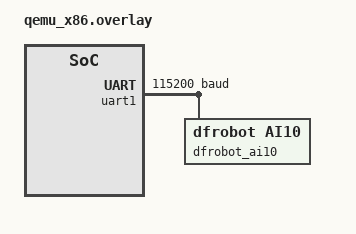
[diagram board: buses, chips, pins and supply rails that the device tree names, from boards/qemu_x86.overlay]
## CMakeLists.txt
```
# SPDX-License-Identifier: Apache-2.0

cmake_minimum_required(VERSION 3.20.0)
find_package(Zephyr REQUIRED HINTS $ENV{ZEPHYR_BASE})
project(lvgl_identify)

FILE(GLOB app_sources src/*.c)
target_sources(app PRIVATE ${app_sources})
```

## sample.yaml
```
# SPDX-License-Identifier: Apache-2.0

sample:
  name: LVGL biometric identify demo
  description: Automatic identification-only LVGL UI (no input) using the biometrics API
common:
  modules:
    - lvgl
  tags:
    - samples
    - display
    - gui
    - lvgl
    - biometrics
tests:
  sample.drivers.biometrics.lvgl_identify:
    build_only: true
    filter: dt_alias_exists("biometrics") and dt_chosen_enabled("zephyr,display")
    platform_allow:
      - qemu_x86
```

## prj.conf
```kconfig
# SPDX-License-Identifier: Apache-2.0

CONFIG_BIOMETRICS=y
CONFIG_SERIAL=y
CONFIG_UART_INTERRUPT_DRIVEN=y

CONFIG_LOG=y
CONFIG_BIOMETRICS_LOG_LEVEL_INF=y

CONFIG_HEAP_MEM_POOL_SIZE=16384

CONFIG_DISPLAY=y
CONFIG_DISPLAY_LOG_LEVEL_ERR=y

CONFIG_LVGL=y
CONFIG_LV_USE_LOG=y
CONFIG_LV_COLOR_DEPTH_32=y

CONFIG_LV_USE_LABEL=y
CONFIG_LV_USE_SPINNER=y

CONFIG_LV_FONT_MONTSERRAT_14=y
CONFIG_LV_FONT_MONTSERRAT_18=y
CONFIG_LV_FONT_MONTSERRAT_24=y
CONFIG_LV_FONT_MONTSERRAT_32=y
```

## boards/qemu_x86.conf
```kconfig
# SPDX-License-Identifier: Apache-2.0
# Extra LVGL sizing for 1024x768 ramfb on qemu_x86 (see modules/lvgl/demos/boards/qemu_x86.conf)

CONFIG_MAIN_STACK_SIZE=16384
CONFIG_LV_Z_MEM_POOL_SIZE=98304
CONFIG_LV_DRAW_LAYER_SIMPLE_BUF_SIZE=32768
CONFIG_LV_DRAW_LAYER_MAX_MEMORY=98304


CONFIG_QEMU_EXTRA_FLAGS="-serial /dev/ttys012"
CONFIG_QEMU_ICOUNT=n


CONFIG_LOG=y
CONFIG_BIOMETRICS_LOG_LEVEL_DBG=y
```

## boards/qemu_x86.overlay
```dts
/*
 * SPDX-License-Identifier: Apache-2.0
 *
 * Emulated fingerprint sensor for QEMU (see biometrics_emul driver).
 */

/ {
	aliases {
		// biometrics = &biometrics_emul;
		biometrics = &dfrobot_ai10;
	};

	biometrics_emul: biometrics-emul {
		compatible = "zephyr,biometrics-emul";
		status = "disabled";
	};
};

&uart1 {
	status = "okay";
	current-speed = <115200>;

	dfrobot_ai10: dfrobot_ai10 {
		compatible = "dfrobot,ai10";
		status = "okay";
	};
};
```

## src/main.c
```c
/*
 * Copyright (c) 2026 The Zephyr Project Contributors
 *
 * SPDX-License-Identifier: Apache-2.0
 */

#include <zephyr/device.h>
#include <zephyr/devicetree.h>
#include <zephyr/drivers/biometrics.h>
#include <zephyr/drivers/display.h>
#include <zephyr/kernel.h>
#include <zephyr/logging/log.h>
#include <zephyr/sys/util.h>

#include <errno.h>
#include <stdio.h>
#include <string.h>

#include <lvgl.h>

LOG_MODULE_REGISTER(app, LOG_LEVEL_INF);

#define BIOMETRICS_NODE DT_ALIAS(biometrics)

#if !DT_NODE_EXISTS(BIOMETRICS_NODE)
#error "Devicetree alias 'biometrics' must point at a biometric device (see README.rst)"
#endif

enum {
	BIO_WORKER_CMD_IDENTIFY = 1,
};

enum {
	BIO_UI_EVT_IDENTIFY_COMPLETE = 1,
};

struct bio_worker_cmd {
	uint32_t cmd;
};

struct bio_ui_evt {
	uint32_t type;
	int32_t result;
	struct biometric_match_result match;
};

K_MSGQ_DEFINE(cmd_msgq, sizeof(struct bio_worker_cmd), 4, 4);
K_MSGQ_DEFINE(evt_msgq, sizeof(struct bio_ui_evt), 8, 4);

static const struct device *bio_dev = DEVICE_DT_GET(BIOMETRICS_NODE);
static const struct device *display_dev = DEVICE_DT_GET(DT_CHOSEN(zephyr_display));

K_THREAD_STACK_DEFINE(worker_stack, 4096);
static struct k_thread worker_thread_data;

static lv_obj_t *scr_idle;
static lv_obj_t *scr_noidentities;
static lv_obj_t *scr_busy;
static lv_obj_t *scr_result;

static lv_obj_t *idle_subtitle;
static lv_obj_t *busy_spinner;
static lv_obj_t *busy_hint;
static lv_obj_t *result_title;
static lv_obj_t *result_detail;

static lv_timer_t *flow_timer;

static bool have_templates;

static void cancel_flow_timer(void)
{
	if (flow_timer != NULL) {
		lv_timer_delete(flow_timer);
		flow_timer = NULL;
	}
}

static void post_worker_cmd(uint32_t cmd)
{
	const struct bio_worker_cmd c = {.cmd = cmd};

	if (k_msgq_put(&cmd_msgq, &c, K_NO_WAIT) != 0) {
		LOG_ERR("Command queue full");
	}
}

static void send_ui_evt(const struct bio_ui_evt *evt)
{
	if (k_msgq_put(&evt_msgq, evt, K_MSEC(500)) != 0) {
		LOG_ERR("UI event queue full");
	}
}

static void style_screen(lv_obj_t *scr)
{
	lv_obj_set_style_bg_color(scr, lv_color_hex(0x1a1a2e), 0);
	lv_obj_set_style_bg_opa(scr, LV_OPA_COVER, 0);
	lv_obj_clear_flag(scr, LV_OBJ_FLAG_SCROLLABLE);
}

static void style_card(lv_obj_t *obj)
{
	lv_obj_set_style_bg_color(obj, lv_color_hex(0x16213e), 0);
	lv_obj_set_style_bg_opa(obj, LV_OPA_COVER, 0);
	lv_obj_set_style_radius(obj, 16, 0);
	lv_obj_set_style_pad_all(obj, 28, 0);
	lv_obj_set_style_border_width(obj, 0, 0);
}

static void start_identify_round(lv_timer_t *t)
{
	ARG_UNUSED(t);

	flow_timer = NULL;
	lv_label_set_text(busy_hint, "Authenticating...");
	lv_scr_load(scr_busy);
	lv_obj_clear_flag(busy_spinner, LV_OBJ_FLAG_HIDDEN);
	post_worker_cmd(BIO_WORKER_CMD_IDENTIFY);
}

static void dismiss_result(lv_timer_t *t)
{
	ARG_UNUSED(t);

	flow_timer = NULL;
	if (!have_templates) {
		return;
	}
	lv_scr_load(scr_idle);
	flow_timer = lv_timer_create(start_identify_round, 1800, NULL);
	lv_timer_set_repeat_count(flow_timer, 1);
}

static void idle_dots_anim(lv_timer_t *t)
{
	static const char *const dots[] = {"", ".", "..", "..."};
	static int i;
	lv_obj_t *lbl = lv_timer_get_user_data(t);

	if (lv_screen_active() != scr_idle) {
		return;
	}

	i = (i + 1) % 4;
	lv_label_set_text_fmt(lbl, "Next check%s", dots[i]);
}

static void build_ui(void)
{
	lv_obj_t *card;
	lv_obj_t *lbl;

	/* --- Idle (between automatic identification rounds) --- */
	scr_idle = lv_obj_create(NULL);
	style_screen(scr_idle);
	lv_obj_set_size(scr_idle, LV_PCT(100), LV_PCT(100));

	card = lv_obj_create(scr_idle);
	style_card(card);
	lv_obj_set_size(card, 720, 320);
	lv_obj_align(card, LV_ALIGN_CENTER, 0, 0);

	lbl = lv_label_create(card);
	lv_label_set_text(lbl, "Identity check");
	lv_obj_set_style_text_font(lbl, &lv_font_montserrat_32, 0);
	lv_obj_set_style_text_color(lbl, lv_color_hex(0xe94560), 0);
	lv_obj_align(lbl, LV_ALIGN_TOP_MID, 0, 20);

	lbl = lv_label_create(card);
	lv_label_set_text(lbl, "Fully automatic - no buttons or touch.");
	lv_obj_set_style_text_font(lbl, &lv_font_montserrat_18, 0);
	lv_obj_set_style_text_color(lbl, lv_color_hex(0xb8b8d1), 0);
	lv_label_set_long_mode(lbl, LV_LABEL_LONG_WRAP);
	lv_obj_set_width(lbl, 660);
	lv_obj_set_style_text_align(lbl, LV_TEXT_ALIGN_CENTER, 0);
	lv_obj_align(lbl, LV_ALIGN_TOP_MID, 0, 88);

	idle_subtitle = lv_label_create(card);
	lv_label_set_text(idle_subtitle, "Next check");
	lv_obj_set_style_text_font(idle_subtitle, &lv_font_montserrat_18, 0);
	lv_obj_set_style_text_color(idle_subtitle, lv_color_hex(0x8888aa), 0);
	lv_obj_align(idle_subtitle, LV_ALIGN_BOTTOM_MID, 0, -24);

	/* --- No templates --- */
	scr_noidentities = lv_obj_create(NULL);
	style_screen(scr_noidentities);
	lv_obj_set_size(scr_noidentities, LV_PCT(100), LV_PCT(100));

	card = lv_obj_create(scr_noidentities);
	style_card(card);
	lv_obj_set_size(card, 720, 340);
	lv_obj_align(card, LV_ALIGN_CENTER, 0, 0);

	lbl = lv_label_create(card);
	lv_label_set_text(lbl, "No enrolled identities");
	lv_obj_set_style_text_font(lbl, &lv_font_montserrat_32, 0);
	lv_obj_set_style_text_color(lbl, lv_color_hex(0xe94560), 0);
	lv_obj_align(lbl, LV_ALIGN_TOP_MID, 0, 24);

	lbl = lv_label_create(card);
	lv_label_set_text(lbl,
			  "This demo only identifies users. The sensor has no templates yet.\n\n"
			  "Provision identities on the module (or use another build), then run "
			  "again.");
	lv_obj_set_style_text_font(lbl, &lv_font_montserrat_18, 0);
	lv_obj_set_style_text_color(lbl, lv_color_hex(0xb8b8d1), 0);
	lv_label_set_long_mode(lbl, LV_LABEL_LONG_WRAP);
	lv_obj_set_width(lbl, 660);
	lv_obj_align(lbl, LV_ALIGN_TOP_MID, 0, 96);

	/* --- Busy --- */
	scr_busy = lv_obj_create(NULL);
	style_screen(scr_busy);
	lv_obj_set_size(scr_busy, LV_PCT(100), LV_PCT(100));

	card = lv_obj_create(scr_busy);
	style_card(card);
	lv_obj_set_size(card, 520, 280);
	lv_obj_align(card, LV_ALIGN_CENTER, 0, 0);

	lbl = lv_label_create(card);
	lv_label_set_text(lbl, "Identifying");
	lv_obj_set_style_text_font(lbl, &lv_font_montserrat_24, 0);
	lv_obj_set_style_text_color(lbl, lv_color_hex(0xeeeeee), 0);
	lv_obj_align(lbl, LV_ALIGN_TOP_MID, 0, 28);

	busy_spinner = lv_spinner_create(card);
	lv_obj_set_size(busy_spinner, 80, 80);
	lv_obj_align(busy_spinner, LV_ALIGN_CENTER, 0, -10);

	busy_hint = lv_label_create(card);
	lv_label_set_text(busy_hint, "Hold still...");
	lv_obj_set_style_text_font(busy_hint, &lv_font_montserrat_18, 0);
	lv_obj_set_style_text_color(busy_hint, lv_color_hex(0xb8b8d1), 0);
	lv_obj_align(busy_hint, LV_ALIGN_BOTTOM_MID, 0, -24);

	/* --- Result --- */
	scr_result = lv_obj_create(NULL);
	style_screen(scr_result);
	lv_obj_set_size(scr_result, LV_PCT(100), LV_PCT(100));

	card = lv_obj_create(scr_result);
	style_card(card);
	lv_obj_set_size(card, 720, 360);
	lv_obj_align(card, LV_ALIGN_CENTER, 0, 0);

	result_title = lv_label_create(card);
	lv_label_set_text(result_title, "Result");
	lv_obj_set_style_text_font(result_title, &lv_font_montserrat_32, 0);
	lv_obj_set_style_text_align(result_title, LV_TEXT_ALIGN_CENTER, 0);
	lv_obj_set_width(result_title, 660);
	lv_obj_align(result_title, LV_ALIGN_TOP_MID, 0, 28);

	result_detail = lv_label_create(card);
	lv_label_set_text(result_detail, "-");
	lv_obj_set_style_text_font(result_detail, &lv_font_montserrat_24, 0);
	lv_obj_set_style_text_align(result_detail, LV_TEXT_ALIGN_CENTER, 0);
	lv_label_set_long_mode(result_detail, LV_LABEL_LONG_WRAP);
	lv_obj_set_width(result_detail, 660);
	lv_obj_align(result_detail, LV_ALIGN_TOP_MID, 0, 100);

	lbl = lv_label_create(card);
	lv_label_set_text(lbl, "Continuing automatically...");
	lv_obj_set_style_text_font(lbl, &lv_font_montserrat_14, 0);
	lv_obj_set_style_text_color(lbl, lv_color_hex(0x8888aa), 0);
	lv_obj_align(lbl, LV_ALIGN_BOTTOM_MID, 0, -20);
}

static bool templates_empty(void)
{
	uint16_t ids[4];
	size_t count = 0;
	int ret;

	ret = biometric_template_list(bio_dev, ids, ARRAY_SIZE(ids), &count);
	if (ret < 0) {
		LOG_ERR("template_list failed: %d", ret);
		return true;
	}

	return count == 0U;
}

static void worker_identify(void)
{
	int ret;
	struct bio_ui_evt evt = {0};
	struct biometric_match_result match = {0};

	ret = biometric_match(bio_dev, BIOMETRIC_MATCH_IDENTIFY, 0, K_SECONDS(20), &match);
	evt.type = BIO_UI_EVT_IDENTIFY_COMPLETE;
	evt.result = ret;
	evt.match = match;
	send_ui_evt(&evt);
}

static void worker_entry(void *p1, void *p2, void *p3)
{
	ARG_UNUSED(p1);
	ARG_UNUSED(p2);
	ARG_UNUSED(p3);

	while (true) {
		struct bio_worker_cmd cmd;

		k_msgq_get(&cmd_msgq, &cmd, K_FOREVER);

		if (cmd.cmd == BIO_WORKER_CMD_IDENTIFY) {
			worker_identify();
		}
	}
}

static void handle_ui_evt(const struct bio_ui_evt *evt)
{
	char buf[160];

	if (evt->type != BIO_UI_EVT_IDENTIFY_COMPLETE) {
		return;
	}

	lv_obj_add_flag(busy_spinner, LV_OBJ_FLAG_HIDDEN);

	if (evt->result == 0) {
		lv_label_set_text(result_title, "OK");
		lv_obj_set_style_text_color(result_title, lv_color_hex(0x4ecca3), 0);
		snprintf(buf, sizeof(buf), "Welcome back.\nUser ID %u - confidence %d, quality %u",
			 evt->match.template_id, evt->match.confidence, evt->match.image_quality);
		lv_label_set_text(result_detail, buf);
	} else if (evt->result == -ENOENT) {
		lv_label_set_text(result_title, "Not recognized");
		lv_obj_set_style_text_color(result_title, lv_color_hex(0xe94560), 0);
		lv_label_set_text(result_detail, "No matching user. Next round starts shortly.");
	} else if (evt->result == -ETIMEDOUT) {
		lv_label_set_text(result_title, "Timed out");
		lv_obj_set_style_text_color(result_title, lv_color_hex(0xf0a500), 0);
		lv_label_set_text(result_detail, "Sensor did not finish in time. Retrying soon.");
	} else {
		snprintf(buf, sizeof(buf), "Identification error (%d)", evt->result);
		lv_label_set_text(result_title, "Error");
		lv_obj_set_style_text_color(result_title, lv_color_hex(0xe94560), 0);
		lv_label_set_text(result_detail, buf);
	}

	lv_scr_load(scr_result);
	cancel_flow_timer();
	flow_timer = lv_timer_create(dismiss_result, 4200, NULL);
	lv_timer_set_repeat_count(flow_timer, 1);
}

int main(void)
{
	int ret;
	struct bio_ui_evt evt;

	if (!device_is_ready(bio_dev)) {
		LOG_ERR("Biometrics device not ready");
		return 0;
	}

	if (!device_is_ready(display_dev)) {
		LOG_ERR("Display not ready");
		return 0;
	}

	k_thread_create(&worker_thread_data, worker_stack, K_THREAD_STACK_SIZEOF(worker_stack),
			worker_entry, NULL, NULL, NULL, 10, 0, K_NO_WAIT);
	k_thread_name_set(&worker_thread_data, "bio_worker");

	build_ui();

	ret = display_blanking_off(display_dev);
	if (ret < 0 && ret != -ENOSYS) {
		LOG_ERR("display_blanking_off: %d", ret);
	}

	have_templates = !templates_empty();

	if (!have_templates) {
		lv_scr_load(scr_noidentities);
	} else {
		lv_scr_load(scr_idle);
		lv_timer_t *dots = lv_timer_create(idle_dots_anim, 700, idle_subtitle);

		lv_timer_set_repeat_count(dots, -1);
		flow_timer = lv_timer_create(start_identify_round, 1200, NULL);
		lv_timer_set_repeat_count(flow_timer, 1);
	}

	while (1) {
		while (k_msgq_get(&evt_msgq, &evt, K_NO_WAIT) == 0) {
			handle_ui_evt(&evt);
		}

		uint32_t delay_ms = lv_timer_handler();

		k_msleep(MIN(delay_ms, 10U));
	}
}
```
